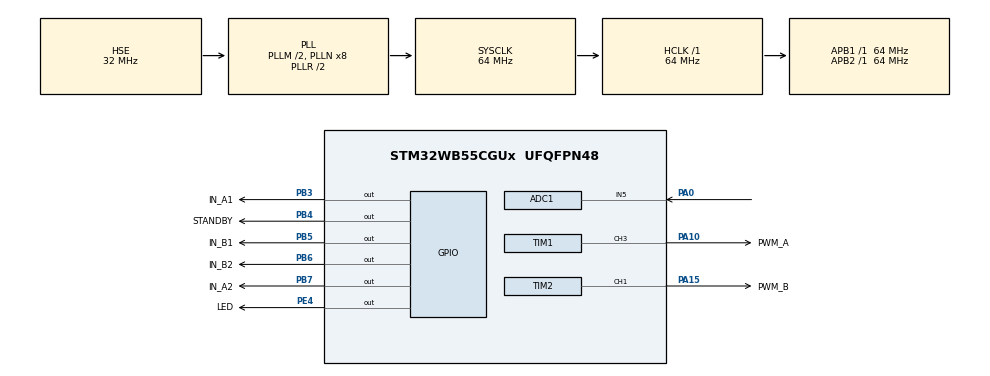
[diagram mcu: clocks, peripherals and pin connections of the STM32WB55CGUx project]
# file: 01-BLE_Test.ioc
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ADC1.Channel-0\#ChannelRegularConversion=ADC_CHANNEL_5
ADC1.ContinuousConvMode=ENABLE
ADC1.DMAContinuousRequests=ENABLE
ADC1.NbrOfConversionFlag=1
ADC1.OffsetNumber-0\#ChannelRegularConversion=ADC_OFFSET_NONE
ADC1.Rank-0\#ChannelRegularConversion=1
ADC1.SamplingTime-0\#ChannelRegularConversion=ADC_SAMPLETIME_640CYCLES_5
ADC1.master=1
Dma.ADC1.0.Direction=DMA_PERIPH_TO_MEMORY
Dma.ADC1.0.EventEnable=DISABLE
Dma.ADC1.0.Instance=DMA1_Channel3
Dma.ADC1.0.MemDataAlignment=DMA_MDATAALIGN_HALFWORD
Dma.ADC1.0.MemInc=DMA_MINC_ENABLE
Dma.ADC1.0.Mode=DMA_CIRCULAR
Dma.ADC1.0.PeriphDataAlignment=DMA_PDATAALIGN_HALFWORD
Dma.ADC1.0.PeriphInc=DMA_PINC_DISABLE
Dma.ADC1.0.Polarity=HAL_DMAMUX_REQ_GEN_RISING
Dma.ADC1.0.Priority=DMA_PRIORITY_LOW
Dma.ADC1.0.RequestNumber=1
Dma.ADC1.0.SignalID=NONE
Dma.ADC1.0.SyncEnable=DISABLE
Dma.ADC1.0.SyncPolarity=HAL_DMAMUX_SYNC_NO_EVENT
Dma.ADC1.0.SyncRequestNumber=1
Dma.ADC1.0.SyncSignalID=NONE
Dma.Request0=ADC1
Mcu.Family=STM32WB
Mcu.Name=STM32WB55CGUx
Mcu.Package=UFQFPN48
NVIC.DMA1_Channel3_IRQn=true\:0\:0\:false\:false\:true\:false\:true\:true
NVIC.HSEM_IRQn=true\:2\:0\:true\:false\:true\:false\:true\:true
NVIC.IPCC_C1_RX_IRQn=true\:2\:0\:true\:false\:true\:true\:true\:true
NVIC.IPCC_C1_TX_IRQn=true\:2\:0\:true\:false\:true\:true\:true\:true
NVIC.PriorityGroup=NVIC_PRIORITYGROUP_4
NVIC.RTC_WKUP_IRQn=true\:2\:0\:true\:false\:true\:true\:true\:true
OSC_IN.Mode=HSE-External-Oscillator
OSC_IN.Signal=RCC_OSC_IN
OSC_OUT.Mode=HSE-External-Oscillator
OSC_OUT.Signal=RCC_OSC_OUT
PA0.Signal=ADCx_IN5
PA10.GPIO_Label=PWM_A
PA10.Signal=S_TIM1_CH3
PA13.Mode=Serial_Wire
PA13.Signal=SYS_JTMS-SWDIO
PA14.Mode=Serial_Wire
PA14.Signal=SYS_JTCK-SWCLK
PA15.GPIO_Label=PWM_B
PA15.Signal=S_TIM2_CH1
PB3.GPIO_Label=IN_A1
PB3.Signal=GPIO_Output
PB4.GPIO_Label=STANDBY
PB4.Signal=GPIO_Output
PB5.GPIO_Label=IN_B1
PB5.Signal=GPIO_Output
PB6.GPIO_Label=IN_B2
PB6.Signal=GPIO_Output
PB7.GPIO_Label=IN_A2
PB7.Signal=GPIO_Output
PC14-OSC32_IN.Mode=LSE-External-Oscillator
PC14-OSC32_IN.Signal=RCC_OSC32_IN
PC15-OSC32_OUT.Mode=LSE-External-Oscillator
PC15-OSC32_OUT.Signal=RCC_OSC32_OUT
PE4.GPIO_Label=LED
PE4.Signal=GPIO_Output
ProjectManager.HeapSize=0x400
ProjectManager.StackSize=0x400
ProjectManager.TargetToolchain=STM32CubeIDE
RCC.ADCFreq_Value=64000000
RCC.AHB2CLKDivider=RCC_SYSCLK_DIV2
RCC.AHBFreq_Value=64000000
RCC.APB1Freq_Value=64000000
RCC.APB1TimFreq_Value=64000000
RCC.APB2Freq_Value=64000000
RCC.APB2TimFreq_Value=64000000
RCC.APB3Freq_Value=16000000
RCC.CK48CLockSelection=RCC_USBCLKSOURCE_HSI48
RCC.CortexFreq_Value=64000000
RCC.HCLKFreq_Value=64000000
RCC.HSE_VALUE=32000000
RCC.HSI48_VALUE=48000000
RCC.HSI_VALUE=16000000
RCC.PLLM=RCC_PLLM_DIV2
RCC.PLLSourceVirtual=RCC_PLLSOURCE_HSE
RCC.RFWKPClockSelection=RCC_RFWKPCLKSOURCE_LSE
RCC.RTCClockSelection=RCC_RTCCLKSOURCE_LSE
RCC.SMPSCLockSelection=RCC_SMPSCLKSOURCE_HSE
RCC.SMPSDivider=4
RCC.SYSCLKFreq_VALUE=64000000
RCC.SYSCLKSource=RCC_SYSCLKSOURCE_PLLCLK
RCC.USBFreq_Value=48000000
RCC.VCOOutputFreq_Value=128000000
RF1.Mode=RF1_Activate
RF1.Signal=RF_RF1
RTC.Month=RTC_MONTH_MARCH
RTC.WeekDay=RTC_WEEKDAY_FRIDAY
RTC.Year=24
SH.ADCx_IN5.0=ADC1_IN5,IN5-Single-Ended
SH.S_TIM1_CH3.0=TIM1_CH3,PWM Generation3 CH3
SH.S_TIM2_CH1.0=TIM2_CH1,PWM Generation1 CH1
STM32_WPAN.BLE_DBG_APP_EN=0
STM32_WPAN.BT_SIG_BEACON=Disabled
STM32_WPAN.CFG_BLE_MAX_ATT_MTU=156
STM32_WPAN.CFG_DEBUGGER_SUPPORTED=1
STM32_WPAN.CFG_DEBUG_APP_TRACE=1
STM32_WPAN.CFG_DEBUG_BLE_TRACE=1
STM32_WPAN.CFG_DEBUG_TRACE_FULL=1
STM32_WPAN.CFG_DEBUG_TRACE_UART=hw_uart1
STM32_WPAN.CFG_HW_USART1_DMA_TX_SUPPORTED=1
STM32_WPAN.CFG_HW_USART1_ENABLED=1
STM32_WPAN.CFG_RTC_ASYNCH_PRESCALER=0x7F
STM32_WPAN.CFG_RTC_SYNCH_PRESCALER=0x00FF
STM32_WPAN.CFG_TX_POWER=(0x1F) /* 6dBm */
STM32_WPAN.CFG_USE_SMPS=1
STM32_WPAN.LOCAL_NAME=WeAct
STM32_WPAN.LOCAL_NAME_FORMATTED=,'W','e','A','c','t'
TIM1.AutoReloadPreload=TIM_AUTORELOAD_PRELOAD_ENABLE
TIM1.Channel-PWM\ Generation3\ CH3=TIM_CHANNEL_3
TIM1.Period=255
TIM1.Prescaler=4
TIM2.AutoReloadPreload=TIM_AUTORELOAD_PRELOAD_ENABLE
TIM2.Channel-PWM\ Generation1\ CH1=TIM_CHANNEL_1
TIM2.Period=255
TIM2.Prescaler=4
VP_HSEM_VS_HSEM.Mode=HSEM_Activate
VP_IPCC_VS_IPCC.Mode=IPCC_Activate
VP_MEMORYMAP_VS_MEMORYMAP.Mode=CurAppReg
VP_RTC_VS_RTC_Activate.Mode=RTC_Enabled
VP_RTC_VS_RTC_Calendar.Mode=RTC_Calendar
VP_RTC_VS_RTC_WakeUp_intern.Mode=WakeUp
VP_SEQUENCER_VS_SEQUENCER.Mode=SEQUENCER_Enabled
VP_STM32_WPAN_VS_BLE_HOST.Mode=STM32_WPAN_Enabled
VP_TIM1_VS_ClockSourceINT.Mode=Internal
VP_TIM2_VS_ClockSourceINT.Mode=Internal
VP_TINY_LPM_VS_TINY_LPM.Mode=TINY_LPM_Enabled
board=custom

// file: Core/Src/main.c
/* USER CODE BEGIN Header */
/**
  ******************************************************************************
  * @file           : main.c
  * @brief          : Main program body
  ******************************************************************************
  * @attention
  *
  * Copyright (c) 2024 STMicroelectronics.
  * All rights reserved.
  *
  * This software is licensed under terms that can be found in the LICENSE file
  * in the root directory of this software component.
  * If no LICENSE file comes with this software, it is provided AS-IS.
  *
  ******************************************************************************
  */
/* USER CODE END Header */
#include "main.h"
#include "adc.h"
#include "dma.h"
#include "ipcc.h"
#include "memorymap.h"
#include "rf.h"
#include "rtc.h"
#include "tim.h"
#include "gpio.h"

/* USER CODE BEGIN Includes */
//#include "usbd_cdc_if.h"
#include "ble.h"
/* USER CODE END Includes */

void SystemClock_Config(void);
void PeriphCommonClock_Config(void);
/* USER CODE BEGIN PFP */
void LoopMain(void);

/* USER CODE END PFP */

/* USER CODE BEGIN 0 */
uint16_t adc_inp;
RTC_DateTypeDef sdatestructureget;
RTC_TimeTypeDef stimestructureget;
/* USER CODE END 0 */

int main(void)
{

  /* MCU Configuration--------------------------------------------------------*/

  /* Reset of all peripherals, Initializes the Flash interface and the Systick. */
  HAL_Init();
  /* Config code for STM32_WPAN (HSE Tuning must be done before system clock configuration) */
  MX_APPE_Config();

  /* Configure the system clock */
  SystemClock_Config();

  /* Configure the peripherals common clocks */
  PeriphCommonClock_Config();

  /* IPCC initialisation */
  MX_IPCC_Init();

  /* Initialize all configured peripherals */
  MX_GPIO_Init();
  MX_DMA_Init();
  MX_RTC_Init();
  MX_ADC1_Init();
  MX_TIM1_Init();
  MX_TIM2_Init();
  MX_RF_Init();
  /* USER CODE BEGIN 2 */
  LL_HSEM_1StepLock( HSEM, 5 );

	HAL_ADCEx_Calibration_Start(&hadc1,ADC_SINGLE_ENDED);
	HAL_ADC_Start_DMA(&hadc1,(uint32_t *)&adc_inp,1);
	HAL_TIM_PWM_Start(&htim1, TIM_CHANNEL_3);
	HAL_TIM_PWM_Start(&htim2, TIM_CHANNEL_1);

	HAL_GPIO_WritePin(IN_A1_GPIO_Port, IN_A1_Pin, GPIO_PIN_SET);
	HAL_GPIO_WritePin(IN_A2_GPIO_Port, IN_A2_Pin, GPIO_PIN_RESET);
	HAL_GPIO_WritePin(IN_B1_GPIO_Port, IN_B1_Pin, GPIO_PIN_SET);
	HAL_GPIO_WritePin(IN_B2_GPIO_Port, IN_B2_Pin, GPIO_PIN_RESET);
  /* USER CODE END 2 */

  /* Init code for STM32_WPAN */
  MX_APPE_Init();

  /* Infinite loop */
  while (1)
  {
    MX_APPE_Process();

    /* USER CODE BEGIN 3 */
    LoopMain();
  }
  /* USER CODE END 3 */
}

void SystemClock_Config(void)
{
  RCC_OscInitTypeDef RCC_OscInitStruct = {0};
  RCC_ClkInitTypeDef RCC_ClkInitStruct = {0};

  /** Configure LSE Drive Capability
  */
  HAL_PWR_EnableBkUpAccess();
  __HAL_RCC_LSEDRIVE_CONFIG(RCC_LSEDRIVE_MEDIUMHIGH);

  /** Configure the main internal regulator output voltage
  */
  __HAL_PWR_VOLTAGESCALING_CONFIG(PWR_REGULATOR_VOLTAGE_SCALE1);

  /** Initializes the RCC Oscillators according to the specified parameters
  * in the RCC_OscInitTypeDef structure.
  */
  RCC_OscInitStruct.OscillatorType = RCC_OSCILLATORTYPE_HSI|RCC_OSCILLATORTYPE_HSE
                              |RCC_OSCILLATORTYPE_LSE;
  RCC_OscInitStruct.HSEState = RCC_HSE_ON;
  RCC_OscInitStruct.LSEState = RCC_LSE_ON;
  RCC_OscInitStruct.HSIState = RCC_HSI_ON;
  RCC_OscInitStruct.HSICalibrationValue = RCC_HSICALIBRATION_DEFAULT;
  RCC_OscInitStruct.PLL.PLLState = RCC_PLL_ON;
  RCC_OscInitStruct.PLL.PLLSource = RCC_PLLSOURCE_HSE;
  RCC_OscInitStruct.PLL.PLLM = RCC_PLLM_DIV2;
  RCC_OscInitStruct.PLL.PLLN = 8;
  RCC_OscInitStruct.PLL.PLLP = RCC_PLLP_DIV2;
  RCC_OscInitStruct.PLL.PLLR = RCC_PLLR_DIV2;
  RCC_OscInitStruct.PLL.PLLQ = RCC_PLLQ_DIV2;
  if (HAL_RCC_OscConfig(&RCC_OscInitStruct) != HAL_OK)
  {
    Error_Handler();
  }

  /** Configure the SYSCLKSource, HCLK, PCLK1 and PCLK2 clocks dividers
  */
  RCC_ClkInitStruct.ClockType = RCC_CLOCKTYPE_HCLK4|RCC_CLOCKTYPE_HCLK2
                              |RCC_CLOCKTYPE_HCLK|RCC_CLOCKTYPE_SYSCLK
                              |RCC_CLOCKTYPE_PCLK1|RCC_CLOCKTYPE_PCLK2;
  RCC_ClkInitStruct.SYSCLKSource = RCC_SYSCLKSOURCE_PLLCLK;
  RCC_ClkInitStruct.AHBCLKDivider = RCC_SYSCLK_DIV1;
  RCC_ClkInitStruct.APB1CLKDivider = RCC_HCLK_DIV1;
  RCC_ClkInitStruct.APB2CLKDivider = RCC_HCLK_DIV1;
  RCC_ClkInitStruct.AHBCLK2Divider = RCC_SYSCLK_DIV2;
  RCC_ClkInitStruct.AHBCLK4Divider = RCC_SYSCLK_DIV1;

  if (HAL_RCC_ClockConfig(&RCC_ClkInitStruct, FLASH_LATENCY_3) != HAL_OK)
  {
    Error_Handler();
  }
}

void PeriphCommonClock_Config(void)
{
  RCC_PeriphCLKInitTypeDef PeriphClkInitStruct = {0};

  /** Initializes the peripherals clock
  */
  PeriphClkInitStruct.PeriphClockSelection = RCC_PERIPHCLK_SMPS|RCC_PERIPHCLK_RFWAKEUP;
  PeriphClkInitStruct.RFWakeUpClockSelection = RCC_RFWKPCLKSOURCE_LSE;
  PeriphClkInitStruct.SmpsClockSelection = RCC_SMPSCLKSOURCE_HSE;
  PeriphClkInitStruct.SmpsDivSelection = RCC_SMPSCLKDIV_RANGE1;

  if (HAL_RCCEx_PeriphCLKConfig(&PeriphClkInitStruct) != HAL_OK)
  {
    Error_Handler();
  }
}

/* USER CODE BEGIN 4 */
void LoopMain(void) {
	extern uint8_t led_blink_en;
	//extern uint8_t Notification_Status;

	extern uint8_t A_dir;
	extern uint8_t A_speed;
	extern uint8_t B_dir;
	extern uint8_t B_speed;
	uint32_t tick,tick_now = 0;
	tick = 0;
	tick_now = HAL_GetTick();
	if (tick_now >= tick) {
		tick = tick_now + 1;

//		uint8_t text[128];
//		static uint8_t Seconds_o;
//		int text_lenth;

//			/* Get the RTC current Time */
//			HAL_RTC_GetTime(&hrtc, &stimestructureget, RTC_FORMAT_BIN);
//			/* Get the RTC current Date */
//			HAL_RTC_GetDate(&hrtc, &sdatestructureget, RTC_FORMAT_BIN);

//			if (Seconds_o != stimestructureget.Seconds) {
//				Seconds_o = stimestructureget.Seconds;

		HAL_GPIO_WritePin(GPIOE, GPIO_PIN_4, led_blink_en ? GPIO_PIN_SET : GPIO_PIN_RESET);

//				text_lenth = snprintf((char*)text, sizeof(text),
//						"20%02d.%02d.%02d %02d:%02d:%02d adc:%04d\r\n",
//						sdatestructureget.Year, sdatestructureget.Month,
//						sdatestructureget.Date, stimestructureget.Hours,
//						stimestructureget.Minutes, stimestructureget.Seconds,
//						adc_inp);

//CDC_Transmit_FS(text, text_lenth);
		HAL_GPIO_WritePin(STANDBY_GPIO_Port, STANDBY_Pin, GPIO_PIN_SET);

		if (A_dir == 0) {
			HAL_GPIO_WritePin(IN_A1_GPIO_Port, IN_A1_Pin, GPIO_PIN_SET);
			HAL_GPIO_WritePin(IN_A2_GPIO_Port, IN_A2_Pin, GPIO_PIN_RESET);
		} else {
			HAL_GPIO_WritePin(IN_A1_GPIO_Port, IN_A1_Pin, GPIO_PIN_RESET);
			HAL_GPIO_WritePin(IN_A2_GPIO_Port, IN_A2_Pin, GPIO_PIN_SET);
		}

		if (B_dir == 0) {
			HAL_GPIO_WritePin(IN_B1_GPIO_Port, IN_B1_Pin, GPIO_PIN_RESET);
			HAL_GPIO_WritePin(IN_B2_GPIO_Port, IN_B2_Pin, GPIO_PIN_SET);
		} else {
			HAL_GPIO_WritePin(IN_B1_GPIO_Port, IN_B1_Pin, GPIO_PIN_SET);
			HAL_GPIO_WritePin(IN_B2_GPIO_Port, IN_B2_Pin, GPIO_PIN_RESET);
		}

		// "newDuty" は 0 ～ 255 で指定
		__HAL_TIM_SET_COMPARE(&htim1, TIM_CHANNEL_3, A_speed);
		__HAL_TIM_SET_COMPARE(&htim2, TIM_CHANNEL_1, B_speed);

//				if (Notification_Status)
//					P2PS_STM_App_Update_Char(P2P_NOTIFY_CHAR_UUID, text);
//			} else {
//				HAL_GPIO_WritePin(GPIOE, GPIO_PIN_4, GPIO_PIN_RESET);
//			}
	}

}
/* USER CODE END 4 */

void Error_Handler(void)
{
  __disable_irq();
  while (1)
  {
  }
}
